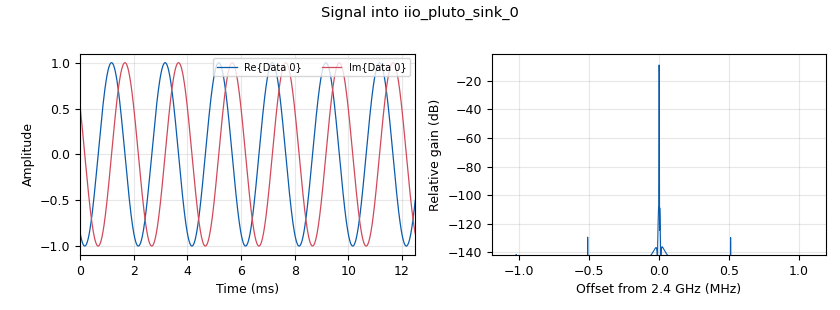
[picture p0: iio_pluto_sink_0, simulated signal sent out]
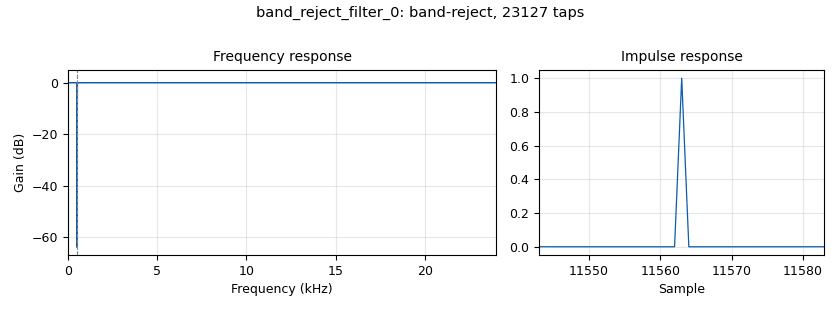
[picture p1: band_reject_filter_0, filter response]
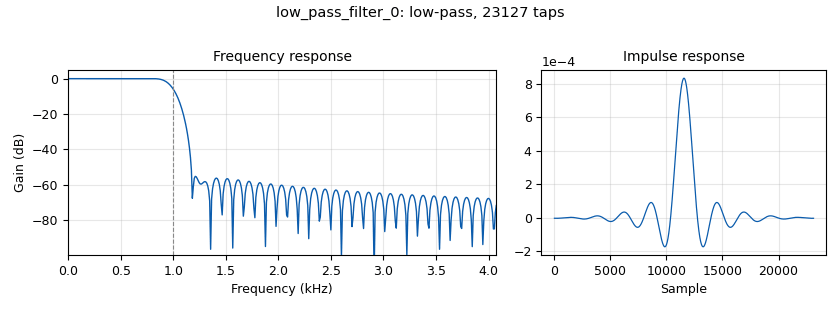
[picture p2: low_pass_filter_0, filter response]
options:
  parameters:
    generate_options: qt_gui
    id: doppler_pluto_tcc
    output_language: python
    title: doppler_pluto
  states: {}

blocks:
- name: audio_gain
  id: variable_qtgui_range
  parameters:
    start: '0'
    step: '1'
    stop: '100'
    value: '1'
  states: {}
- name: rx_gain
  id: variable_qtgui_range
  parameters:
    start: '0'
    step: '1'
    stop: '70'
    value: '64'
  states: {}
- name: samp_rate
  id: variable
  parameters:
    value: 2.4e6
  states: {}
- name: tone_freq
  id: variable_qtgui_range
  parameters:
    start: '-2e3'
    step: '1'
    stop: 2e3
    value: '500'
  states: {}
- name: tune
  id: variable_qtgui_range
  parameters:
    start: '88'
    step: '.2'
    stop: '108'
    value: '104.3'
  states: {}
- name: tuning
  id: variable_qtgui_chooser
  parameters:
    label: station
    label0: '101.3'
    label1: '93.5'
    label2: '94.1'
    label3: '94.3'
    num_opts: '4'
    option0: '101300000'
    option1: '93500000'
    option2: '94100000'
    option3: '94300000'
    type: real
    value: '101300000'
    widget: radio_buttons
  states: {}
- name: tuning_0
  id: variable_qtgui_chooser
  parameters:
    label: station
    label0: '101.3'
    label1: '93.5'
    label2: '94.1'
    label3: '94.3'
    num_opts: '4'
    option0: '101300000'
    option1: '93500000'
    option2: '94100000'
    option3: '94300000'
    type: real
    value: '101300000'
    widget: radio_buttons
  states: {}
- name: tx_attenuation
  id: variable_qtgui_range
  parameters:
    start: '0'
    step: '1'
    stop: '100'
    value: '10'
  states: {}
- name: volume
  id: variable_qtgui_range
  parameters:
    label: Volume
    start: '0'
    step: '0.050'
    stop: '1'
    value: '0.300'
  states: {}
- name: analog_fm_demod_cf_0
  id: analog_fm_demod_cf
  parameters:
    audio_decim: audio_decimation
    audio_pass: '16000'
    audio_stop: '20000'
    chan_rate: int(sample_rate/rf_decimation)
    deviation: deviation
    gain: '1.0'
    tau: '75e-6'
  states: {}
- name: analog_sig_source_x_0
  id: analog_sig_source_x
  parameters:
    amp: '1'
    freq: tone_freq
    offset: '0'
    phase: '0'
    samp_rate: samp_rate
    type: complex
    waveform: analog.GR_COS_WAVE
  states: {}
- name: analog_simple_squelch_cc_0
  id: analog_simple_squelch_cc
  parameters:
    alpha: '1'
    threshold: '-50'
  states: {}
- name: audio_sink_0_0_0
  id: audio_sink
  parameters:
    samp_rate: '48000'
  states: {}
- name: band_reject_filter_0
  id: band_reject_filter
  parameters:
    decim: '1'
    gain: '1'
    high_cutoff_freq: '505'
    low_cutoff_freq: '495'
    samp_rate: samp_rate/50
    type: fir_filter_ccf
    width: '5'
    win: window.WIN_HAMMING
  states: {}
- name: blocks_complex_to_mag_0
  id: blocks_complex_to_mag
  parameters:
    vlen: '32768'
  states: {}
- name: blocks_keep_one_in_n_0
  id: blocks_keep_one_in_n
  parameters:
    n: '200'
    type: float
  states: {}
- name: blocks_multiply_conjugate_cc_0
  id: blocks_multiply_conjugate_cc
  parameters: {}
  states: {}
- name: blocks_multiply_const_vxx_0
  id: blocks_multiply_const_vxx
  parameters:
    const: audio_gain
    type: complex
  states: {}
- name: blocks_multiply_const_vxx_0_0
  id: blocks_multiply_const_vxx
  parameters:
    const: '0.300'
    type: float
  states: {}
- name: blocks_skiphead_0
  id: blocks_skiphead
  parameters:
    num_items: '32768'
    type: float
  states: {}
- name: blocks_stream_to_vector_0
  id: blocks_stream_to_vector
  parameters:
    num_items: '32768'
    type: complex
  states: {}
- name: blocks_stream_to_vector_1
  id: blocks_stream_to_vector
  parameters:
    num_items: '32768'
    type: float
  states: {}
- name: blocks_vector_to_stream_0
  id: blocks_vector_to_stream
  parameters:
    num_items: '32768'
    type: float
  states: {}
- name: epy_block_1
  id: epy_block
  parameters:
    _source_code: |
      import numpy as np
      import csv
      import time
      from gnuradio import gr

      class blk(gr.sync_block):
          def __init__(self):
              gr.sync_block.__init__(
                  self,
                  name='Save FFT to CSV',
                  in_sig=[(np.float32, 32768)],
                  out_sig=[]
              )
              self.filename = "fft_magnitude.csv"
              self.start_time = time.time()
              self.header_written = False

          def work(self, input_items, output_items):
              fft_vectors = input_items[0]  # shape: (N, 32768)

              with open(self.filename, 'a', newline='') as f:
                  writer = csv.writer(f)

                  if not self.header_written:
                      # Write header: tempo, mag0, mag1, ..., mag32767
                      header = ['timestamp'] + [f'mag_{i}' for i in range(32768)]
                      writer.writerow(header)
                      self.header_written = True

                  for vector in fft_vectors:
                      timestamp = time.time() - self.start_time
                      row = [timestamp] + vector.tolist()
                      writer.writerow(row)

              return len(input_items[0])
  states: {}
- name: fft_vxx_0
  id: fft_vxx
  parameters:
    fft_size: '32768'
    forward: 'True'
    shift: 'True'
    type: complex
    window: window.blackmanharris(32768)
  states: {}
- name: iio_pluto_sink_0
  id: iio_pluto_sink
  parameters:
    attenuation1: tx_attenuation
    bandwidth: '20000000'
    buffer_size: '32768'
    cyclic: 'False'
    filter_source: '''Auto'''
    frequency: '2400000000'
    samplerate: int(samp_rate)
    type: fc32
  states: {}
- name: iio_pluto_source_0_0
  id: iio_pluto_source
  parameters:
    bandwidth: '20000000'
    bbdc: 'True'
    buffer_size: '32768'
    filter_source: '''Auto'''
    frequency: '2400000000'
    gain1: '''manual'''
    manual_gain1: rx_gain
    quadrature: 'True'
    rfdc: 'True'
    samplerate: int(samp_rate)
    type: fc32
    uri: 192.168.2.1
  states: {}
- name: low_pass_filter_0
  id: low_pass_filter
  parameters:
    cutoff_freq: tone_freq*2
    decim: '50'
    gain: '1'
    samp_rate: samp_rate
    type: fir_filter_ccf
    width: '250'
    win: window.WIN_HAMMING
  states: {}
- name: qtgui_freq_sink_x_3
  id: qtgui_freq_sink_x
  parameters:
    bw: samp_rate
    fc: '0'
    fftsize: '32768'
    label: Gain
    label1: comparacao_sinais
    type: complex
  states: {}
- name: qtgui_waterfall_sink_x_0
  id: qtgui_waterfall_sink_x
  parameters:
    bw: samp_rate
    fc: '0'
    fftsize: '32768'
    type: complex
  states: {}
- name: rational_resampler_xxx_0
  id: rational_resampler_xxx
  parameters:
    decim: '5'
    interp: '1'
    taps: ''
    type: ccc
  states: {}
- name: rational_resampler_xxx_1
  id: rational_resampler_xxx
  parameters:
    decim: '204'
    interp: '192'
    type: ccc
  states: {}
- name: soapy_rtlsdr_source_0
  id: soapy_rtlsdr_source
  parameters:
    center_freq: tuning
    samp_rate: samp_rate
    type: fc32
  states: {}

connections:
- [analog_fm_demod_cf_0, '0', blocks_multiply_const_vxx_0_0, '0']
- [analog_sig_source_x_0, '0', iio_pluto_sink_0, '0']
- [analog_simple_squelch_cc_0, '0', analog_fm_demod_cf_0, '0']
- [band_reject_filter_0, '0', blocks_multiply_const_vxx_0, '0']
- [blocks_complex_to_mag_0, '0', blocks_vector_to_stream_0, '0']
- [blocks_keep_one_in_n_0, '0', blocks_stream_to_vector_1, '0']
- [blocks_multiply_conjugate_cc_0, '0', blocks_stream_to_vector_0, '0']
- [blocks_multiply_conjugate_cc_0, '0', qtgui_freq_sink_x_3, '0']
- [blocks_multiply_conjugate_cc_0, '0', qtgui_waterfall_sink_x_0, '0']
- [blocks_multiply_const_vxx_0_0, '0', audio_sink_0_0_0, '0']
- [blocks_skiphead_0, '0', blocks_keep_one_in_n_0, '0']
- [blocks_stream_to_vector_0, '0', fft_vxx_0, '0']
- [blocks_stream_to_vector_1, '0', epy_block_1, '0']
- [blocks_vector_to_stream_0, '0', blocks_skiphead_0, '0']
- [fft_vxx_0, '0', blocks_complex_to_mag_0, '0']
- [iio_pluto_source_0_0, '0', blocks_multiply_conjugate_cc_0, '0']
- [iio_pluto_source_0_0, '0', low_pass_filter_0, '0']
- [iio_pluto_source_0_0, '0', rational_resampler_xxx_0, '0']
- [low_pass_filter_0, '0', band_reject_filter_0, '0']
- [rational_resampler_xxx_0, '0', analog_simple_squelch_cc_0, '0']
- [rational_resampler_xxx_1, '0', blocks_multiply_conjugate_cc_0, '1']
- [soapy_rtlsdr_source_0, '0', rational_resampler_xxx_1, '0']

metadata:
  file_format: 1
  grc_version: 3.10.9.2
